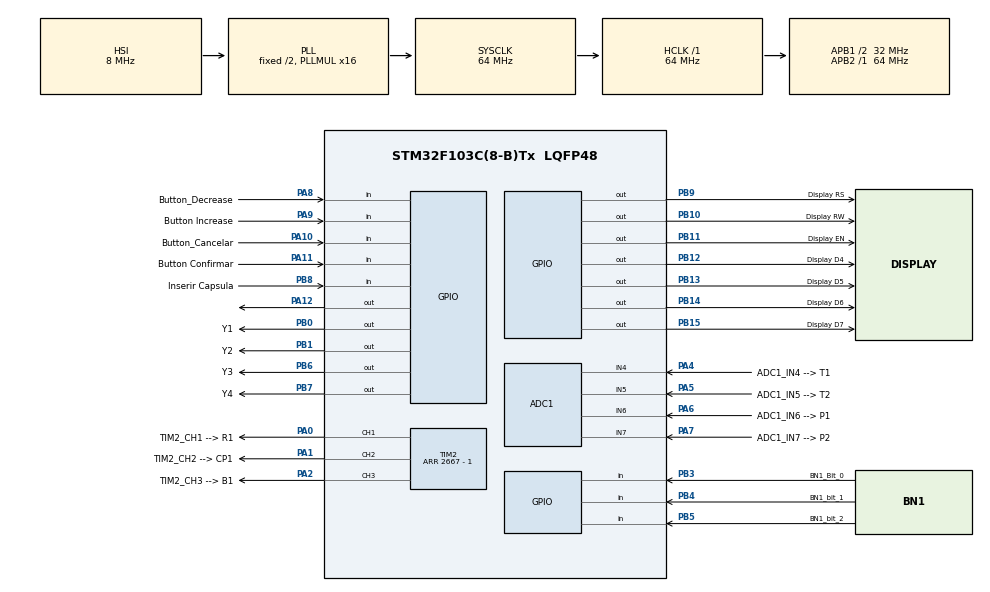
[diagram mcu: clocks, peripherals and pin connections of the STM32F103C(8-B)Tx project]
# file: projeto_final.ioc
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ADC1.Channel-2\#ChannelRegularConversion=ADC_CHANNEL_7
ADC1.Channel-3\#ChannelRegularConversion=ADC_CHANNEL_6
ADC1.Channel-4\#ChannelRegularConversion=ADC_CHANNEL_5
ADC1.Channel-5\#ChannelRegularConversion=ADC_CHANNEL_4
ADC1.ContinuousConvMode=ENABLE
ADC1.DataAlign=ADC_DATAALIGN_RIGHT
ADC1.NbrOfConversion=4
ADC1.NbrOfConversionFlag=1
ADC1.Rank-2\#ChannelRegularConversion=1
ADC1.Rank-3\#ChannelRegularConversion=2
ADC1.Rank-4\#ChannelRegularConversion=3
ADC1.Rank-5\#ChannelRegularConversion=4
ADC1.SamplingTime-2\#ChannelRegularConversion=ADC_SAMPLETIME_1CYCLE_5
ADC1.SamplingTime-3\#ChannelRegularConversion=ADC_SAMPLETIME_1CYCLE_5
ADC1.SamplingTime-4\#ChannelRegularConversion=ADC_SAMPLETIME_1CYCLE_5
ADC1.SamplingTime-5\#ChannelRegularConversion=ADC_SAMPLETIME_1CYCLE_5
ADC1.master=1
Dma.ADC1.0.Direction=DMA_PERIPH_TO_MEMORY
Dma.ADC1.0.Instance=DMA1_Channel1
Dma.ADC1.0.MemDataAlignment=DMA_MDATAALIGN_WORD
Dma.ADC1.0.MemInc=DMA_MINC_ENABLE
Dma.ADC1.0.Mode=DMA_NORMAL
Dma.ADC1.0.PeriphDataAlignment=DMA_PDATAALIGN_WORD
Dma.ADC1.0.PeriphInc=DMA_PINC_DISABLE
Dma.ADC1.0.Priority=DMA_PRIORITY_LOW
Dma.Request0=ADC1
Mcu.Family=STM32F1
Mcu.Name=STM32F103C(8-B)Tx
Mcu.Package=LQFP48
NVIC.DMA1_Channel1_IRQn=true\:0\:0\:false\:false\:true\:false\:true
NVIC.PriorityGroup=NVIC_PRIORITYGROUP_4
PA0-WKUP.GPIO_Label=TIM2_CH1 --> R1
PA0-WKUP.Signal=S_TIM2_CH1_ETR
PA1.GPIO_Label=TIM2_CH2 --> CP1
PA1.Signal=S_TIM2_CH2
PA10.GPIO_Label=Button_Cancelar
PA10.Signal=GPIO_Input
PA11.GPIO_Label=Button Confirmar
PA11.Signal=GPIO_Input
PA12.Signal=GPIO_Output
PA13.Mode=Serial_Wire
PA13.Signal=SYS_JTMS-SWDIO
PA14.Mode=Serial_Wire
PA14.Signal=SYS_JTCK-SWCLK
PA2.GPIO_Label=TIM2_CH3 --> B1
PA2.Signal=S_TIM2_CH3
PA4.GPIO_Label=ADC1_IN4 --> T1
PA4.Signal=ADCx_IN4
PA5.GPIO_Label=ADC1_IN5 --> T2
PA5.Signal=ADCx_IN5
PA6.GPIO_Label=ADC1_IN6 --> P1
PA6.Signal=ADCx_IN6
PA7.GPIO_Label=ADC1_IN7 --> P2
PA7.Signal=ADCx_IN7
PA8.GPIO_Label=Button_Decrease
PA8.Signal=GPIO_Input
PA9.GPIO_Label=Button Increase
PA9.Signal=GPIO_Input
PB0.GPIO_Label=Y1
PB0.Signal=GPIO_Output
PB1.GPIO_Label=Y2
PB1.Signal=GPIO_Output
PB10.GPIO_Label=Display RW
PB10.Signal=GPIO_Output
PB11.GPIO_Label=Display EN
PB11.Signal=GPIO_Output
PB12.GPIO_Label=Display D4
PB12.Signal=GPIO_Output
PB13.GPIO_Label=Display D5
PB13.Signal=GPIO_Output
PB14.GPIO_Label=Display D6
PB14.Signal=GPIO_Output
PB15.GPIO_Label=Display D7
PB15.Signal=GPIO_Output
PB3.GPIO_Label=BN1_Bit_0
PB3.Signal=GPIO_Input
PB4.GPIO_Label=BN1_bit_1
PB4.Signal=GPIO_Input
PB5.GPIO_Label=BN1_bit_2
PB5.Signal=GPIO_Input
PB6.GPIO_Label=Y3
PB6.Signal=GPIO_Output
PB7.GPIO_Label=Y4
PB7.Signal=GPIO_Output
PB8.GPIO_Label=Inserir Capsula
PB8.Signal=GPIO_Input
PB9.GPIO_Label=Display RS
PB9.Signal=GPIO_Output
ProjectManager.HeapSize=0x200
ProjectManager.StackSize=0x400
ProjectManager.TargetToolchain=STM32CubeIDE
RCC.ADCPresc=RCC_ADCPCLK2_DIV6
RCC.AHBFreq_Value=64000000
RCC.APB1CLKDivider=RCC_HCLK_DIV2
RCC.APB1Freq_Value=32000000
RCC.APB1TimFreq_Value=64000000
RCC.APB2Freq_Value=64000000
RCC.APB2TimFreq_Value=64000000
RCC.HCLKFreq_Value=64000000
RCC.PLLMUL=RCC_PLL_MUL16
RCC.SYSCLKFreq_VALUE=64000000
RCC.SYSCLKSource=RCC_SYSCLKSOURCE_PLLCLK
RCC.USBFreq_Value=64000000
SH.ADCx_IN4.0=ADC1_IN4,IN4
SH.ADCx_IN5.0=ADC1_IN5,IN5
SH.ADCx_IN6.0=ADC1_IN6,IN6
SH.ADCx_IN7.0=ADC1_IN7,IN7
SH.S_TIM2_CH1_ETR.0=TIM2_CH1,PWM Generation1 CH1
SH.S_TIM2_CH2.0=TIM2_CH2,PWM Generation2 CH2
SH.S_TIM2_CH3.0=TIM2_CH3,PWM Generation3 CH3
TIM1.Period=0xffff-1
TIM1.Prescaler=56 - 1
TIM2.AutoReloadPreload=TIM_AUTORELOAD_PRELOAD_ENABLE
TIM2.Channel-PWM\ Generation1\ CH1=TIM_CHANNEL_1
TIM2.Channel-PWM\ Generation2\ CH2=TIM_CHANNEL_2
TIM2.Channel-PWM\ Generation3\ CH3=TIM_CHANNEL_3
TIM2.Period=2667 - 1
VP_RTC_VS_RTC_Activate.Mode=RTC_Enabled
VP_TIM1_VS_ClockSourceINT.Mode=Internal
VP_TIM2_VS_ClockSourceINT.Mode=Internal
board=custom

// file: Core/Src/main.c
/* USER CODE BEGIN Header */
/**
  ******************************************************************************
  * @file           : main.c
  * @brief          : Main program body
  ******************************************************************************
  * @attention
  *
  * <h2><center>&copy; Copyright (c) 2020 STMicroelectronics.
  * All rights reserved.</center></h2>
  *
  * This software component is licensed by ST under BSD 3-Clause license,
  * the "License"; You may not use this file except in compliance with the
  * License. You may obtain a copy of the License at:
  *                        opensource.org/licenses/BSD-3-Clause
  *
  ******************************************************************************
  */
/* USER CODE END Header */
#include "main.h"

/* USER CODE BEGIN Includes */
#include "LCD_4.h"
#include "states.h"
#include "PWM.h"
#include "ADC.h"
#include "DWT.h"

/* USER CODE END Includes */

ADC_HandleTypeDef hadc1;
DMA_HandleTypeDef hdma_adc1;

RTC_HandleTypeDef hrtc;

TIM_HandleTypeDef htim1;
TIM_HandleTypeDef htim2;

/* USER CODE BEGIN PV */

//uint8_t  adcDataReady = 0;
//uint32_t adcData[NUMBER_OF_CONVERSTION];
uint32_t adcAvgData = 0;
/* USER CODE END PV */

void SystemClock_Config(void);
static void MX_GPIO_Init(void);
static void MX_DMA_Init(void);
static void MX_TIM2_Init(void);
static void MX_ADC1_Init(void);
static void MX_TIM1_Init(void);
static void MX_RTC_Init(void);

int main(void)
{

  /* MCU Configuration--------------------------------------------------------*/

  /* Reset of all peripherals, Initializes the Flash interface and the Systick. */
  HAL_Init();

  /* Configure the system clock */
  SystemClock_Config();

  /* Initialize all configured peripherals */
  MX_GPIO_Init();
  MX_DMA_Init();
  MX_TIM2_Init();
  MX_ADC1_Init();
  MX_TIM1_Init();
  MX_RTC_Init();
  /* USER CODE BEGIN 2 */

  //inicializa LCD em modo 4 bits
  LCD_Init();
  ADC_Init(hadc1);
  PWM_Init(&htim2);
  DWT_Delay_Init();
  // calibracao do ADC
//  	HAL_ADCEx_Calibration_Start(&hadc1);

  /* USER CODE END 2 */

  /* Infinite loop */
  /* USER CODE BEGIN WHILE */

  STATE current_state = STATE_SHOWING_CLOCK;
  CAPSULE_Recipe_TypeDef capsule;

  while (1)
  {
    /* USER CODE END WHILE */

    /* USER CODE BEGIN 3 */

	switch (current_state) {
		case STATE_SHOWING_CLOCK:
			capsule = STATE_Show_Clock(hrtc);
			current_state = STATE_STARTING_PROCESS;
			break;
		case STATE_STARTING_PROCESS:
			capsule = STATE_Starting_Process(capsule, hadc1);

			//se confirmou e tem uma capsula inserida
			if(capsule.capsule_type != NONE_CAPSULE_TYPE)
			{
				STATE_Started_Process(capsule, hadc1);
				current_state = STATE_SHOWING_CLOCK;
			}
			current_state = STATE_SHOWING_CLOCK;
			break;
		default:
			break;
	}
	HAL_GPIO_TogglePin(GPIOA, GPIO_PIN_12);
	DWT_Delay_us(300000);
  }
  /* USER CODE END 3 */
}

void SystemClock_Config(void)
{
  RCC_OscInitTypeDef RCC_OscInitStruct = {0};
  RCC_ClkInitTypeDef RCC_ClkInitStruct = {0};
  RCC_PeriphCLKInitTypeDef PeriphClkInit = {0};

  /** Initializes the RCC Oscillators according to the specified parameters
  * in the RCC_OscInitTypeDef structure.
  */
  RCC_OscInitStruct.OscillatorType = RCC_OSCILLATORTYPE_HSI|RCC_OSCILLATORTYPE_LSI;
  RCC_OscInitStruct.HSIState = RCC_HSI_ON;
  RCC_OscInitStruct.HSICalibrationValue = RCC_HSICALIBRATION_DEFAULT;
  RCC_OscInitStruct.LSIState = RCC_LSI_ON;
  RCC_OscInitStruct.PLL.PLLState = RCC_PLL_ON;
  RCC_OscInitStruct.PLL.PLLSource = RCC_PLLSOURCE_HSI_DIV2;
  RCC_OscInitStruct.PLL.PLLMUL = RCC_PLL_MUL16;
  if (HAL_RCC_OscConfig(&RCC_OscInitStruct) != HAL_OK)
  {
    Error_Handler();
  }
  /** Initializes the CPU, AHB and APB buses clocks
  */
  RCC_ClkInitStruct.ClockType = RCC_CLOCKTYPE_HCLK|RCC_CLOCKTYPE_SYSCLK
                              |RCC_CLOCKTYPE_PCLK1|RCC_CLOCKTYPE_PCLK2;
  RCC_ClkInitStruct.SYSCLKSource = RCC_SYSCLKSOURCE_PLLCLK;
  RCC_ClkInitStruct.AHBCLKDivider = RCC_SYSCLK_DIV1;
  RCC_ClkInitStruct.APB1CLKDivider = RCC_HCLK_DIV2;
  RCC_ClkInitStruct.APB2CLKDivider = RCC_HCLK_DIV1;

  if (HAL_RCC_ClockConfig(&RCC_ClkInitStruct, FLASH_LATENCY_2) != HAL_OK)
  {
    Error_Handler();
  }
  PeriphClkInit.PeriphClockSelection = RCC_PERIPHCLK_RTC|RCC_PERIPHCLK_ADC;
  PeriphClkInit.RTCClockSelection = RCC_RTCCLKSOURCE_LSI;
  PeriphClkInit.AdcClockSelection = RCC_ADCPCLK2_DIV6;
  if (HAL_RCCEx_PeriphCLKConfig(&PeriphClkInit) != HAL_OK)
  {
    Error_Handler();
  }
}

static void MX_ADC1_Init(void)
{

  ADC_ChannelConfTypeDef sConfig = {0};

  /** Common config
  */
  hadc1.Instance = ADC1;
  hadc1.Init.ScanConvMode = ADC_SCAN_ENABLE;
  hadc1.Init.ContinuousConvMode = ENABLE;
  hadc1.Init.DiscontinuousConvMode = DISABLE;
  hadc1.Init.ExternalTrigConv = ADC_SOFTWARE_START;
  hadc1.Init.DataAlign = ADC_DATAALIGN_RIGHT;
  hadc1.Init.NbrOfConversion = 4;
  if (HAL_ADC_Init(&hadc1) != HAL_OK)
  {
    Error_Handler();
  }
  /** Configure Regular Channel
  */
  sConfig.Channel = ADC_CHANNEL_7;
  sConfig.Rank = ADC_REGULAR_RANK_1;
  sConfig.SamplingTime = ADC_SAMPLETIME_1CYCLE_5;
  if (HAL_ADC_ConfigChannel(&hadc1, &sConfig) != HAL_OK)
  {
    Error_Handler();
  }
  /** Configure Regular Channel
  */
  sConfig.Channel = ADC_CHANNEL_6;
  sConfig.Rank = ADC_REGULAR_RANK_2;
  if (HAL_ADC_ConfigChannel(&hadc1, &sConfig) != HAL_OK)
  {
    Error_Handler();
  }
  /** Configure Regular Channel
  */
  sConfig.Channel = ADC_CHANNEL_5;
  sConfig.Rank = ADC_REGULAR_RANK_3;
  if (HAL_ADC_ConfigChannel(&hadc1, &sConfig) != HAL_OK)
  {
    Error_Handler();
  }
  /** Configure Regular Channel
  */
  sConfig.Channel = ADC_CHANNEL_4;
  sConfig.Rank = ADC_REGULAR_RANK_4;
  if (HAL_ADC_ConfigChannel(&hadc1, &sConfig) != HAL_OK)
  {
    Error_Handler();
  }

}

static void MX_RTC_Init(void)
{

  /** Initialize RTC Only
  */
  hrtc.Instance = RTC;
  hrtc.Init.AsynchPrediv = RTC_AUTO_1_SECOND;
  hrtc.Init.OutPut = RTC_OUTPUTSOURCE_ALARM;
  if (HAL_RTC_Init(&hrtc) != HAL_OK)
  {
    Error_Handler();
  }

}

static void MX_TIM1_Init(void)
{

  TIM_ClockConfigTypeDef sClockSourceConfig = {0};
  TIM_MasterConfigTypeDef sMasterConfig = {0};

  htim1.Instance = TIM1;
  htim1.Init.Prescaler = 56 - 1;
  htim1.Init.CounterMode = TIM_COUNTERMODE_UP;
  htim1.Init.Period = 0xffff-1;
  htim1.Init.ClockDivision = TIM_CLOCKDIVISION_DIV1;
  htim1.Init.RepetitionCounter = 0;
  htim1.Init.AutoReloadPreload = TIM_AUTORELOAD_PRELOAD_DISABLE;
  if (HAL_TIM_Base_Init(&htim1) != HAL_OK)
  {
    Error_Handler();
  }
  sClockSourceConfig.ClockSource = TIM_CLOCKSOURCE_INTERNAL;
  if (HAL_TIM_ConfigClockSource(&htim1, &sClockSourceConfig) != HAL_OK)
  {
    Error_Handler();
  }
  sMasterConfig.MasterOutputTrigger = TIM_TRGO_RESET;
  sMasterConfig.MasterSlaveMode = TIM_MASTERSLAVEMODE_DISABLE;
  if (HAL_TIMEx_MasterConfigSynchronization(&htim1, &sMasterConfig) != HAL_OK)
  {
    Error_Handler();
  }

}

static void MX_TIM2_Init(void)
{

  TIM_ClockConfigTypeDef sClockSourceConfig = {0};
  TIM_MasterConfigTypeDef sMasterConfig = {0};
  TIM_OC_InitTypeDef sConfigOC = {0};

  htim2.Instance = TIM2;
  htim2.Init.Prescaler = 0;
  htim2.Init.CounterMode = TIM_COUNTERMODE_UP;
  htim2.Init.Period = 2667 - 1;
  htim2.Init.ClockDivision = TIM_CLOCKDIVISION_DIV1;
  htim2.Init.AutoReloadPreload = TIM_AUTORELOAD_PRELOAD_ENABLE;
  if (HAL_TIM_Base_Init(&htim2) != HAL_OK)
  {
    Error_Handler();
  }
  sClockSourceConfig.ClockSource = TIM_CLOCKSOURCE_INTERNAL;
  if (HAL_TIM_ConfigClockSource(&htim2, &sClockSourceConfig) != HAL_OK)
  {
    Error_Handler();
  }
  if (HAL_TIM_PWM_Init(&htim2) != HAL_OK)
  {
    Error_Handler();
  }
  sMasterConfig.MasterOutputTrigger = TIM_TRGO_RESET;
  sMasterConfig.MasterSlaveMode = TIM_MASTERSLAVEMODE_DISABLE;
  if (HAL_TIMEx_MasterConfigSynchronization(&htim2, &sMasterConfig) != HAL_OK)
  {
    Error_Handler();
  }
  sConfigOC.OCMode = TIM_OCMODE_PWM1;
  sConfigOC.Pulse = 0;
  sConfigOC.OCPolarity = TIM_OCPOLARITY_HIGH;
  sConfigOC.OCFastMode = TIM_OCFAST_DISABLE;
  if (HAL_TIM_PWM_ConfigChannel(&htim2, &sConfigOC, TIM_CHANNEL_1) != HAL_OK)
  {
    Error_Handler();
  }
  if (HAL_TIM_PWM_ConfigChannel(&htim2, &sConfigOC, TIM_CHANNEL_2) != HAL_OK)
  {
    Error_Handler();
  }
  if (HAL_TIM_PWM_ConfigChannel(&htim2, &sConfigOC, TIM_CHANNEL_3) != HAL_OK)
  {
    Error_Handler();
  }
  HAL_TIM_MspPostInit(&htim2);

}

static void MX_DMA_Init(void)
{

  /* DMA controller clock enable */
  __HAL_RCC_DMA1_CLK_ENABLE();

  /* DMA interrupt init */
  /* DMA1_Channel1_IRQn interrupt configuration */
  HAL_NVIC_SetPriority(DMA1_Channel1_IRQn, 0, 0);
  HAL_NVIC_EnableIRQ(DMA1_Channel1_IRQn);

}

static void MX_GPIO_Init(void)
{
  GPIO_InitTypeDef GPIO_InitStruct = {0};

  /* GPIO Ports Clock Enable */
  __HAL_RCC_GPIOA_CLK_ENABLE();
  __HAL_RCC_GPIOB_CLK_ENABLE();

  /*Configure GPIO pin Output Level */
  HAL_GPIO_WritePin(GPIOB, Y1_Pin|Y2_Pin|Display_RW_Pin|Display_EN_Pin
                          |Display_D4_Pin|Display_D5_Pin|Display_D6_Pin|Display_D7_Pin
                          |Y3_Pin|Y4_Pin|Display_RS_Pin, GPIO_PIN_RESET);

  /*Configure GPIO pin Output Level */
  HAL_GPIO_WritePin(GPIOA, GPIO_PIN_12, GPIO_PIN_RESET);

  /*Configure GPIO pins : Y1_Pin Y2_Pin Display_RW_Pin Display_EN_Pin
                           Display_D4_Pin Display_D5_Pin Display_D6_Pin Display_D7_Pin
                           Y3_Pin Y4_Pin Display_RS_Pin */
  GPIO_InitStruct.Pin = Y1_Pin|Y2_Pin|Display_RW_Pin|Display_EN_Pin
                          |Display_D4_Pin|Display_D5_Pin|Display_D6_Pin|Display_D7_Pin
                          |Y3_Pin|Y4_Pin|Display_RS_Pin;
  GPIO_InitStruct.Mode = GPIO_MODE_OUTPUT_PP;
  GPIO_InitStruct.Pull = GPIO_NOPULL;
  GPIO_InitStruct.Speed = GPIO_SPEED_FREQ_LOW;
  HAL_GPIO_Init(GPIOB, &GPIO_InitStruct);

  /*Configure GPIO pins : Button_Decrease_Pin Button_Increase_Pin Button_Cancelar_Pin Button_Confirmar_Pin */
  GPIO_InitStruct.Pin = Button_Decrease_Pin|Button_Increase_Pin|Button_Cancelar_Pin|Button_Confirmar_Pin;
  GPIO_InitStruct.Mode = GPIO_MODE_INPUT;
  GPIO_InitStruct.Pull = GPIO_NOPULL;
  HAL_GPIO_Init(GPIOA, &GPIO_InitStruct);

  /*Configure GPIO pin : PA12 */
  GPIO_InitStruct.Pin = GPIO_PIN_12;
  GPIO_InitStruct.Mode = GPIO_MODE_OUTPUT_PP;
  GPIO_InitStruct.Pull = GPIO_NOPULL;
  GPIO_InitStruct.Speed = GPIO_SPEED_FREQ_LOW;
  HAL_GPIO_Init(GPIOA, &GPIO_InitStruct);

  /*Configure GPIO pins : BN1_Bit_0_Pin BN1_bit_1_Pin BN1_bit_2_Pin Inserir_Capsula_Pin */
  GPIO_InitStruct.Pin = BN1_Bit_0_Pin|BN1_bit_1_Pin|BN1_bit_2_Pin|Inserir_Capsula_Pin;
  GPIO_InitStruct.Mode = GPIO_MODE_INPUT;
  GPIO_InitStruct.Pull = GPIO_NOPULL;
  HAL_GPIO_Init(GPIOB, &GPIO_InitStruct);

}

/* USER CODE BEGIN 4 */
//void HAL_ADC_ConvCpltCallback(ADC_HandleTypeDef* hadc)
//{
//	adcDataReady = 1;
//}
/* USER CODE END 4 */

void Error_Handler(void)
{
}

/************************ (C) COPYRIGHT STMicroelectronics *****END OF FILE****/
